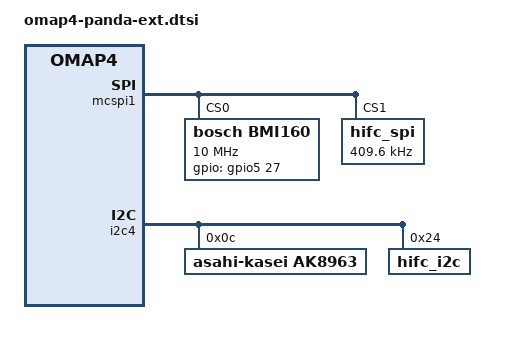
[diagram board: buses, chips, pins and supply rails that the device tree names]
/*
 * Copyright 2014 Sony Corporation
 *
 * This program is free software; you can redistribute it and/or modify
 * it under the terms of the GNU General Public License version 2 as
 * published by the Free Software Foundation.
 */

&mcspi1 {
	bmi160 {
		/* accelerometer & gyroscope */
		compatible = "bosch,bmi160";
		reg = <0>;
		spi-max-frequency = <10000000>;
		/* GPIO 155 */
		gpios = <&gpio5 27 GPIO_ACTIVE_HIGH>;
	};
	hifc_spi {
		compatible = "hifc_spi";
		spi-max-frequency = <409600>;
		reg = <1>;
		spi-cpha;
		/* trigger io  = 39 */
		hifc-trigger-io = <39>;
	};
};

&i2c4 {
	ak8963@0c{
		/* magnetometer */
		compatible = "asahi-kasei,ak8963";
		reg = <0x0c>;
	};
	/*
	 * Currently the default I2C4 frequency that is configured for 400KHZ
	 * is too quick to be supported by CXD5602, so if you want to use the
	 * I2C4 as the transmission interface in CXD5602, the I2C4 speed
	 * should be set to 100KHZ or less.
	 */
	hifc_i2c@24 {
		compatible = "hifc_i2c";
		reg = <0x24>;
		/* trigger io  = 39 */
		hifc-trigger-io = <39>;
	};
};

&omap4_pmx_core {
	pinctrl-0 = <
			&twl6030_pins
			&twl6040_pins
			&mcpdm_pins
			&mcbsp1_pins
			&dss_hdmi_pins
			&tpd12s015_pins
			&hsusbb1_pins
			/*
			 * aboves are needed to be maintained same to
			 * the original omap4-panda-common.dtsi.
			 */
			&bmi160_pins
			&mcspi1_pins
			&hifc_pins
			&j6gpio_pins
	>;

	bmi160_pins: pinmux_bmi160_pins {
		pinctrl-single,pins = <
			/* gpio_155: 0x4a10'015c - 0x4a10'0040 */
			0x11c (PIN_INPUT_PULLUP | MUX_MODE3)
		>;
	};

	hifc_pins: gpio_hifc_pmx {
		pinctrl-single,pins = <
			0x1e (PIN_INPUT_PULLDOWN | MUX_MODE3)	/* gpio_39 */
		>;
	};

	mcspi1_pins: pinmux_mcspi1_pins {
		pinctrl-single,pins = <
			0xf2 (PIN_INPUT | MUX_MODE0)		/*  mcspi1_clk.mcspi1_clk */
			0xf4 (PIN_INPUT | MUX_MODE0)		/*  mcspi1_somi.mcspi1_somi */
			0xf6 (PIN_INPUT | MUX_MODE0)		/*  mcspi1_simo.mcspi1_simo */
			0xf8 (PIN_INPUT | MUX_MODE0)		/*  mcspi1_cs0.mcspi1_cs0 */
		>;
	};

	j6gpio_pins: pinmux_j6gpio_pins {
		pinctrl-single,pins = <
			0x10 (PIN_INPUT_PULLUP | MUX_MODE3) /* gpio_32 */
			0x12 (PIN_INPUT_PULLUP | MUX_MODE3) /* gpio_33 */
			0x14 (PIN_INPUT_PULLUP | MUX_MODE3) /* gpio_34 */
			0x16 (PIN_INPUT_PULLUP | MUX_MODE3) /* gpio_35 */
			0x18 (PIN_INPUT_PULLUP | MUX_MODE3) /* gpio_36 */
			0x1a (PIN_INPUT_PULLUP | MUX_MODE3) /* gpio_37 */
			0x1c (PIN_INPUT_PULLUP | MUX_MODE3) /* gpio_38 */
			0x34 (PIN_INPUT_PULLUP | MUX_MODE3) /* gpio_50 */
			0x36 (PIN_INPUT_PULLUP | MUX_MODE3) /* gpio_51 */
			0x3c (PIN_INPUT_PULLUP | MUX_MODE3) /* gpio_54 */
			0x3e (PIN_INPUT_PULLUP | MUX_MODE3) /* gpio_55 */
			0x40 (PIN_INPUT_PULLUP | MUX_MODE3) /* gpio_56 */
			0x46 (PIN_INPUT_PULLUP | MUX_MODE3) /* gpio_59 */
			0x4a (PIN_INPUT_PULLUP | MUX_MODE3) /* gpio_61 */
		>;
	};
};
